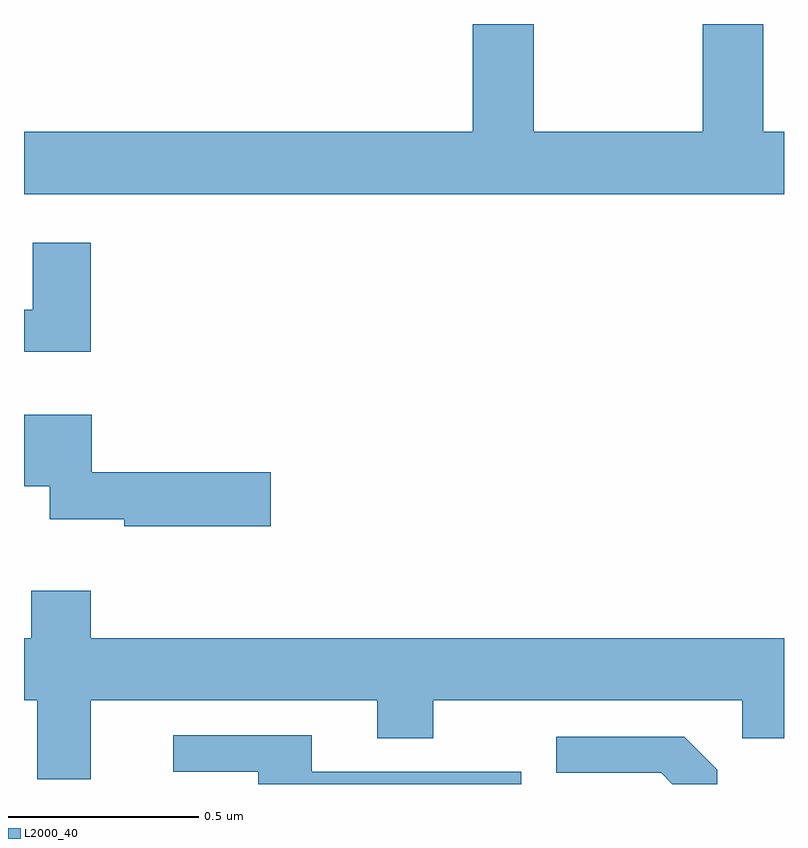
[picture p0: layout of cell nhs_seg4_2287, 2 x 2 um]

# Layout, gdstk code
import gdstk
lib = gdstk.Library(unit=1e-6, precision=1e-09)
def P(c, l, *ps):  # polygons
    for p in ps: c.add(gdstk.Polygon(p, *l))
L2000_40 = (2000, 40)

nhs_seg4_2287 = lib.new_cell('nhs_seg4_2287')
P(nhs_seg4_2287, L2000_40, [(140,831.616),(139.946,831.616),(139.946,831.9),(139.786,831.9),(139.786,831.616),(139.341,831.616),(139.341,831.9),(139.181,831.9),(139.181,831.616),(138,831.616),(138,831.452),(140,831.452)],
  [(138.176,831.325),(138.023,831.325),(138.023,831.148),(138,831.148),(138,831.038),(138.176,831.038)],
  [(138.649,830.72),(138.178,830.72),(138.178,830.872),(138,830.872),(138,830.684),(138.068,830.684),(138.068,830.597),(138.264,830.597),(138.264,830.578),(138.649,830.578)],
  [(138.175,830.12),(138.929,830.12),(138.929,830.021),(139.077,830.021),(139.077,830.12),(139.89,830.12),(139.89,830.021),(140,830.021),(140,830.284),(138.176,830.284),(138.176,830.408),(138.019,830.408),(138.019,830.284),(138,830.284),(138,830.12),(138.035,830.12),(138.035,829.912),(138.175,829.912)],
  [(139.308,829.932),(138.757,829.932),(138.757,830.028),(138.393,830.028),(138.393,829.932),(138.617,829.932),(138.617,829.9),(139.308,829.9)],
  [(139.824,829.938),(139.737,830.025),(139.401,830.025),(139.401,829.929),(139.677,829.929),(139.706,829.9),(139.824,829.9)])

lib.write_gds('nhs_seg4_2287.gds')
